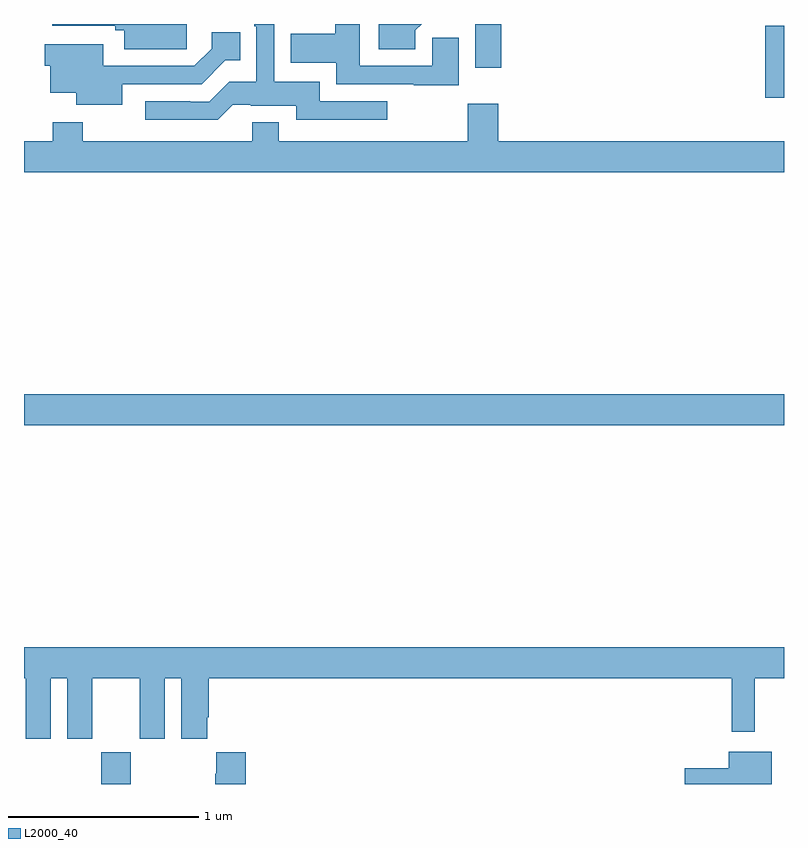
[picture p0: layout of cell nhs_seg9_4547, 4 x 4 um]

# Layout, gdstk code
import gdstk
lib = gdstk.Library(unit=1e-6, precision=1e-09)
def R(c, l, rs):  # rectangles x0, y0, x1, y1
    for r in rs: c.add(gdstk.rectangle(r[:2], r[2:], *l))
def P(c, l, *ps):  # polygons
    for p in ps: c.add(gdstk.Polygon(p, *l))
L2000_40 = (2000, 40)

nhs_seg9_4547 = lib.new_cell('nhs_seg9_4547')
R(nhs_seg9_4547, L2000_40, [(371.407,1226.5,371.562,1226.668), (371,1228.388,375,1228.552), (374.9,1230.111,375,1230.492), (373.376,1230.27,373.511,1230.5)])
P(nhs_seg9_4547, L2000_40, [(371.857,1230.5),(371.148,1230.5),(371.148,1230.492),(371.481,1230.492),(371.481,1230.467),(371.528,1230.467),(371.528,1230.368),(371.857,1230.368)],
  [(373.288,1230.428),(373.149,1230.428),(373.149,1230.279),(372.766,1230.279),(372.766,1230.5),(372.637,1230.5),(372.637,1230.448),(372.403,1230.448),(372.403,1230.296),(372.644,1230.296),(372.644,1230.183),(373.052,1230.183),(373.052,1230.178),(373.288,1230.178)],
  [(372.099,1230.075),(372.193,1230.075),(372.193,1230.071),(372.434,1230.071),(372.434,1229.997),(372.913,1229.997),(372.913,1230.093),(372.556,1230.093),(372.556,1230.196),(372.318,1230.196),(372.318,1230.5),(372.212,1230.5),(372.212,1230.488),(372.222,1230.488),(372.222,1230.195),(372.081,1230.195),(371.976,1230.09),(371.876,1230.09),(371.876,1230.093),(371.637,1230.093),(371.637,1229.996),(372.02,1229.996)],
  [(373.06,1230.466),(373.094,1230.5),(372.867,1230.5),(372.867,1230.368),(373.06,1230.368)],
  [(371.518,1230.183),(371.935,1230.183),(372.06,1230.308),(372.137,1230.308),(372.137,1230.457),(371.987,1230.457),(371.987,1230.371),(371.895,1230.279),(371.416,1230.279),(371.416,1230.394),(371.108,1230.394),(371.108,1230.28),(371.138,1230.28),(371.138,1230.137),(371.276,1230.137),(371.276,1230.074),(371.518,1230.074)],
  [(375,1229.884),(373.496,1229.884),(373.496,1230.079),(373.336,1230.079),(373.336,1229.884),(372.34,1229.884),(372.34,1229.983),(372.2,1229.983),(372.2,1229.884),(371.31,1229.884),(371.31,1229.983),(371.15,1229.983),(371.15,1229.884),(371,1229.884),(371,1229.72),(375,1229.72)],
  [(371.14,1227.056),(371.228,1227.056),(371.228,1226.739),(371.359,1226.739),(371.359,1227.056),(371.609,1227.056),(371.609,1226.739),(371.74,1226.739),(371.74,1227.056),(371.828,1227.056),(371.828,1226.739),(371.965,1226.739),(371.965,1226.851),(371.972,1226.851),(371.972,1227.056),(374.724,1227.056),(374.724,1226.775),(374.845,1226.775),(374.845,1227.056),(375,1227.056),(375,1227.22),(371,1227.22),(371,1227.056),(371.009,1227.056),(371.009,1226.739),(371.14,1226.739)],
  [(374.935,1226.671),(374.708,1226.671),(374.708,1226.583),(374.478,1226.583),(374.478,1226.5),(374.935,1226.5)],
  [(372.167,1226.668),(372.011,1226.668),(372.011,1226.555),(372.007,1226.555),(372.007,1226.5),(372.167,1226.5)])

lib.write_gds('nhs_seg9_4547.gds')
